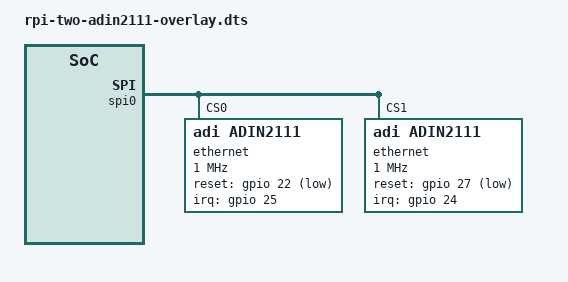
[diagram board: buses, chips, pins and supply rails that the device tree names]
// SPDX-License-Identifier: (GPL-2.0+ OR BSD-3-Clause)
/* Overlay for two EVAL-ADIN2111EBZ connected to the same SPI bus.
 * ADIN2111-CS0:
 *	CS 	- SPI_CE0 (GPIO 8)
 *      INT_N 	- GPIO 25
 *	RESET_N - GPIO 22
 *
 * ADIN2111-CS0:
 *	CS 	- SPI_CE1 (GPIO 7)
 *      INT_N 	- GPIO 24
 *	RESET_N - GPIO 27
 *
 * ADIN2111-CS1:
 * Copyright 2022 Analog Devices Inc.
 */

/dts-v1/;
/plugin/;

#include <dt-bindings/interrupt-controller/irq.h>
#include <dt-bindings/gpio/gpio.h>

&spidev0 {
	status = "disabled";
};

&spidev1 {
	status = "disabled";
};

&spi0 {
	#address-cells = <1>;
	#size-cells = <0>;
	status = "okay";

	ethernet@0 {
		compatible = "adi,adin2111";
		reg = <0>;
		spi-max-frequency = <1000000>;

		#address-cells = <1>;
		#size-cells = <0>;

		interrupt-parent = <&gpio>;
		interrupts = <25 IRQ_TYPE_LEVEL_LOW>;
		mac-address = [ CA AA B7 10 23 63 ];

		reset-gpios = <&gpio 22 GPIO_ACTIVE_LOW>;

		phy@0 {
			compatible = "ethernet-phy-id0283.bca1";
			reg = <0x0>;
		};

		phy@1 {
			compatible = "ethernet-phy-id0283.bca1";
			reg = <0x1>;
		};
	};

	ethernet@1 {
		compatible = "adi,adin2111";
		reg = <1>;
		spi-max-frequency = <1000000>;

		#address-cells = <1>;
		#size-cells = <0>;

		interrupt-parent = <&gpio>;
		interrupts = <24 IRQ_TYPE_LEVEL_LOW>;
		mac-address = [ CA BB B7 10 23 63 ];

		reset-gpios = <&gpio 27 GPIO_ACTIVE_LOW>;

		phy@0 {
			compatible = "ethernet-phy-id0283.bca1";
			reg = <0x0>;
		};

		phy@1 {
			compatible = "ethernet-phy-id0283.bca1";
			reg = <0x1>;
		};
	};
};


